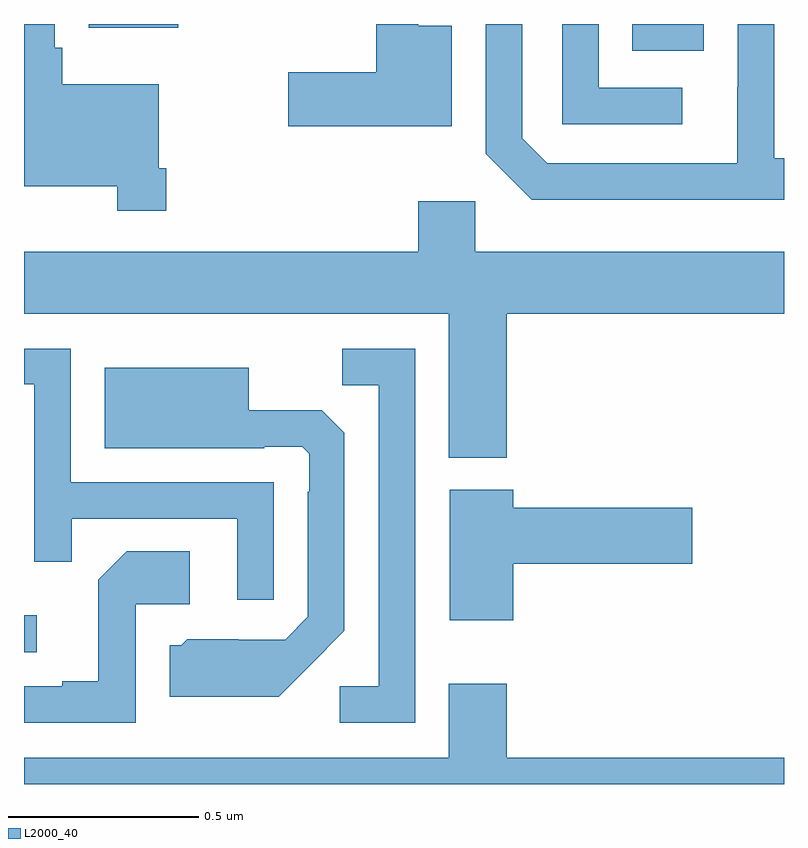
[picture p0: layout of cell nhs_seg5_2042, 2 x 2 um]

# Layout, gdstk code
import gdstk
lib = gdstk.Library(unit=1e-6, precision=1e-09)
def R(c, l, rs):  # rectangles x0, y0, x1, y1
    for r in rs: c.add(gdstk.rectangle(r[:2], r[2:], *l))
def P(c, l, *ps):  # polygons
    for p in ps: c.add(gdstk.Polygon(p, *l))
L2000_40 = (2000, 40)

nhs_seg5_2042 = lib.new_cell('nhs_seg5_2042')
R(nhs_seg5_2042, L2000_40, [(138,913.146,138.034,913.243), (139.601,914.729,139.789,914.799), (138.17,914.789,138.406,914.799)])
P(nhs_seg5_2042, L2000_40, [(138.374,914.419),(138.354,914.419),(138.354,914.641),(138.101,914.641),(138.101,914.737),(138.081,914.737),(138.081,914.799),(138,914.799),(138,914.372),(138.246,914.372),(138.246,914.307),(138.374,914.307)],
  [(139.732,914.631),(139.512,914.631),(139.512,914.799),(139.416,914.799),(139.416,914.535),(139.732,914.535)],
  [(140,914.446),(139.974,914.446),(139.974,914.799),(139.878,914.799),(139.878,914.633),(139.877,914.633),(139.877,914.433),(139.377,914.433),(139.311,914.499),(139.311,914.799),(139.215,914.799),(139.215,914.457),(139.336,914.336),(140,914.336)],
  [(139.126,914.794),(139.037,914.794),(139.037,914.799),(138.927,914.799),(138.927,914.672),(138.696,914.672),(138.696,914.53),(139.126,914.53)],
  [(139.271,914.036),(140,914.036),(140,914.2),(139.188,914.2),(139.188,914.332),(139.037,914.332),(139.037,914.2),(138,914.2),(138,914.036),(139.118,914.036),(139.118,913.658),(139.271,913.658)],
  [(139.029,913.944),(138.838,913.944),(138.838,913.849),(138.933,913.849),(138.933,913.056),(138.831,913.056),(138.831,912.96),(139.029,912.96)],
  [(138.657,913.593),(138.123,913.593),(138.123,913.944),(138,913.944),(138,913.851),(138.027,913.851),(138.027,913.384),(138.125,913.384),(138.125,913.497),(138.561,913.497),(138.561,913.284),(138.657,913.284)],
  [(138.751,913.109),(138.843,913.202),(138.843,913.724),(138.784,913.783),(138.592,913.783),(138.592,913.894),(138.212,913.894),(138.212,913.682),(138.632,913.682),(138.632,913.686),(138.732,913.686),(138.75,913.668),(138.75,913.568),(138.747,913.568),(138.747,913.239),(138.687,913.179),(138.564,913.179),(138.564,913.18),(138.43,913.18),(138.414,913.164),(138.383,913.164),(138.383,913.028),(138.671,913.028)],
  [(139.288,913.379),(139.759,913.379),(139.759,913.526),(139.288,913.526),(139.288,913.573),(139.121,913.573),(139.121,913.23),(139.288,913.23)],
  [(138.294,913.272),(138.436,913.272),(138.436,913.412),(138.271,913.412),(138.195,913.336),(138.195,913.069),(138.101,913.069),(138.101,913.056),(138,913.056),(138,912.96),(138.294,912.96)],
  [(140,912.868),(139.271,912.868),(139.271,913.063),(139.118,913.063),(139.118,912.868),(138,912.868),(138,912.799),(140,912.799)])

lib.write_gds('nhs_seg5_2042.gds')
